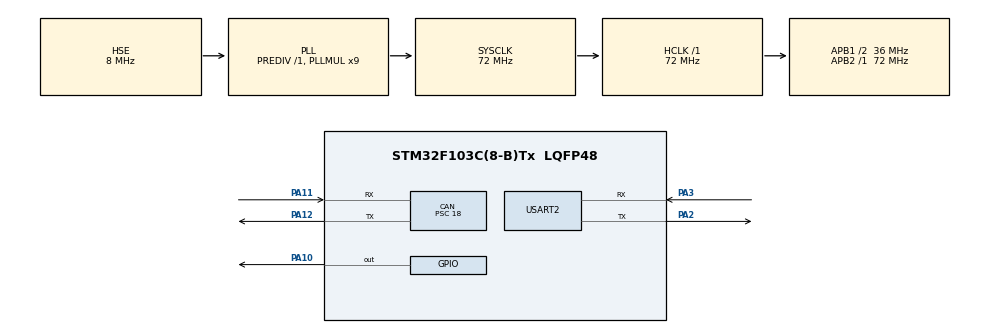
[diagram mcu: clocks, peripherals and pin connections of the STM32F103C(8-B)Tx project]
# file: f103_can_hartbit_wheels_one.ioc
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CAN.BS1=CAN_BS1_2TQ
CAN.CalculateBaudRate=500000
CAN.CalculateTimeBit=2000
CAN.CalculateTimeQuantum=500.0
CAN.Mode=CAN_MODE_NORMAL
CAN.Prescaler=18
Mcu.Family=STM32F1
Mcu.Name=STM32F103C(8-B)Tx
Mcu.Package=LQFP48
NVIC.CAN1_RX1_IRQn=true\:0\:0\:false\:false\:true\:true\:true\:true
NVIC.PriorityGroup=NVIC_PRIORITYGROUP_4
NVIC.TIM2_IRQn=true\:0\:0\:false\:false\:true\:true\:true\:true
NVIC.USB_HP_CAN1_TX_IRQn=true\:0\:0\:false\:false\:true\:true\:true\:true
NVIC.USB_LP_CAN1_RX0_IRQn=true\:0\:0\:false\:false\:true\:true\:true\:true
PA10.PinState=GPIO_PIN_SET
PA10.Signal=GPIO_Output
PA11.Mode=CAN_Activate
PA11.Signal=CAN_RX
PA12.Mode=CAN_Activate
PA12.Signal=CAN_TX
PA13.Mode=Serial_Wire
PA13.Signal=SYS_JTMS-SWDIO
PA14.Mode=Serial_Wire
PA14.Signal=SYS_JTCK-SWCLK
PA2.Mode=Asynchronous
PA2.Signal=USART2_TX
PA3.Mode=Asynchronous
PA3.Signal=USART2_RX
PD0-OSC_IN.Mode=HSE-External-Oscillator
PD0-OSC_IN.Signal=RCC_OSC_IN
PD1-OSC_OUT.Mode=HSE-External-Oscillator
PD1-OSC_OUT.Signal=RCC_OSC_OUT
ProjectManager.HeapSize=0x200
ProjectManager.StackSize=0x400
ProjectManager.TargetToolchain=STM32CubeIDE
RCC.AHBFreq_Value=72000000
RCC.APB1CLKDivider=RCC_HCLK_DIV2
RCC.APB1Freq_Value=36000000
RCC.APB1TimFreq_Value=72000000
RCC.APB2Freq_Value=72000000
RCC.APB2TimFreq_Value=72000000
RCC.HCLKFreq_Value=72000000
RCC.PLLMUL=RCC_PLL_MUL9
RCC.PLLSourceVirtual=RCC_PLLSOURCE_HSE
RCC.SYSCLKFreq_VALUE=72000000
RCC.SYSCLKSource=RCC_SYSCLKSOURCE_PLLCLK
RCC.USBFreq_Value=72000000
TIM2.Period=99
TIM2.Prescaler=7199
USART2.VirtualMode=VM_ASYNC
VP_TIM2_VS_ClockSourceINT.Mode=Internal
board=custom

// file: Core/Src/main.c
/* USER CODE BEGIN Header */
/**
  ******************************************************************************
  * @file           : main.c
  * @brief          : Main program body
  ******************************************************************************
  * @attention
  *
  * <h2><center>&copy; Copyright (c) 2021 STMicroelectronics.
  * All rights reserved.</center></h2>
  *
  * This software component is licensed by ST under BSD 3-Clause license,
  * the "License"; You may not use this file except in compliance with the
  * License. You may obtain a copy of the License at:
  *                        opensource.org/licenses/BSD-3-Clause
  *
  ******************************************************************************
  */
/* USER CODE END Header */
#include "main.h"

/* USER CODE BEGIN Includes */
#include "main.h"
#include "can.h"
#include "CO_NMT.h"
#include "eds_data.h"
#include <stdio.h>
#include "CO_SDO.h"
#include "COB_Dispatcher.h"
#define DEBUG_UART_LOG
#include "CO_PDO.h"
#include "CO_SYNC.h"
#include <string.h>
#include <stdio.h>
#define WHEEL_NODE_1 0x03
#define WHEEL_NODE_2 0x02
/* USER CODE END Includes */

CAN_HandleTypeDef hcan;

TIM_HandleTypeDef htim2;

UART_HandleTypeDef huart2;

/* USER CODE BEGIN PV */
CAN_HandleTypeDef hcan;
extern volatile uint8_t canopen_confirmation_received;
extern void CO_PDO_DebugPrint(uint8_t node_id);

int32_t target_speed = 0;//500000;

volatile uint8_t controlword_stage = 0;
//ControlMode active_mode = MODE_POSITION;
ControlMode active_mode = MODE_SPEED;

/* USER CODE END PV */

void SystemClock_Config(void);
static void MX_GPIO_Init(void);
static void MX_CAN_Init(void);
static void MX_USART2_UART_Init(void);
static void MX_TIM2_Init(void);

int main(void)
{

  /* MCU Configuration--------------------------------------------------------*/

  /* Reset of all peripherals, Initializes the Flash interface and the Systick. */
  HAL_Init();

  /* Configure the system clock */
  SystemClock_Config();

  /* Initialize all configured peripherals */
  MX_GPIO_Init();
  MX_CAN_Init();
  MX_USART2_UART_Init();
  MX_TIM2_Init();
  /* USER CODE BEGIN 2 */

  LogMessage("=== System Init ===");

  // 1. Инициализация CAN
  CAN_Init();
  HAL_Delay(500);

  // Сброс
  CO_NMT_Send(&hcan, NMT_RESET_NODE, WHEEL_NODE_1);
  CO_NMT_Send(&hcan, NMT_RESET_NODE, WHEEL_NODE_2);
  HAL_Delay(300);

  // Старт
  CO_NMT_Send(&hcan, NMT_START, WHEEL_NODE_1);
  CO_NMT_Send(&hcan, NMT_START, WHEEL_NODE_2);
  HAL_Delay(300);

  // Активация
  CAN_SendActivationCommand(&hcan, WHEEL_NODE_1);
  CAN_SendActivationCommand(&hcan, WHEEL_NODE_2);
  HAL_Delay(100);

  // Снятие с тормоза
  CO_NMT_ReleaseBrake(&hcan, WHEEL_NODE_1);
  CO_NMT_ReleaseBrake(&hcan, WHEEL_NODE_2);
  HAL_Delay(100);

  // Инициализация режима скорости через SDO
  CO_SDO_Init_SpeedMode(&hcan, WHEEL_NODE_1);
  CO_SDO_Init_SpeedMode(&hcan, WHEEL_NODE_2);
  HAL_Delay(100);

  // ⚠️ ПЕРЕХОД в Operational только теперь
  CO_NMT_Send(&hcan, NMT_START, WHEEL_NODE_1);
  CO_NMT_Send(&hcan, NMT_START, WHEEL_NODE_2);
  HAL_Delay(100);

  // Настройка RPDO
  CO_PDO_ConfigForSpeedMode(&hcan, WHEEL_NODE_1);
  CO_PDO_ConfigForSpeedMode(&hcan, WHEEL_NODE_2);

  CO_PDO_StartupSequence_SpeedMode(&hcan, WHEEL_NODE_1, 2000);
  CO_PDO_StartupSequence_SpeedMode(&hcan, WHEEL_NODE_2, 2000);

  // Первый запуск
  CO_SYNC_ResetStep();
  CO_SYNC_SetEnabled(1);
  HAL_TIM_Base_Start_IT(&htim2);
  HAL_Delay(8000); // подождать пока мотор закончит ( это 30 сек = 3000 шагов, можно подкорректировать)
  HAL_TIM_Base_Stop_IT(&htim2);
  CO_SYNC_SetEnabled(0);

  HAL_Delay(3000);

  // Второй запуск
  CO_SYNC_ResetStep();
  CO_SYNC_SetEnabled(1);
  HAL_TIM_Base_Start_IT(&htim2);
  HAL_Delay(5000);
  HAL_TIM_Base_Stop_IT(&htim2);
  CO_SYNC_SetEnabled(0);

  /* USER CODE END 2 */

  /* Infinite loop */
  /* USER CODE BEGIN WHILE */
  while (1)
  {

	  COB_ProcessStateMachine();  // Всё управление через FSM
	  HAL_Delay(10);

	  /*
	      if (CO_PDO_IsReceived(WHEEL_NODE_ID)) {
	          LogMessage("✅ PDO received");
	          CO_PDO_DebugPrint(WHEEL_NODE_ID);
	          HAL_Delay(500);
	      }
	      // Отладочное чтение параметров
	      uint32_t val = 0;

	      if (CO_SDO_Read(&hcan, WHEEL_NODE_ID, 0x6061, 0x00, &val) == HAL_OK) {
	          char dbg[64];
	          sprintf(dbg, "Mode Display (0x6061) = 0x%02lX", val);
	          LogMessage(dbg);
	      }

	      if (CO_SDO_Read(&hcan, WHEEL_NODE_ID, 0x6041, 0x00, &val) == HAL_OK) {
	          char dbg[64];
	          sprintf(dbg, "Statusword (0x6041) = 0x%04lX", val);
	          LogMessage(dbg);
	      }

	      if (CO_SDO_Read(&hcan, WHEEL_NODE_ID, 0x606C, 0x00, &val) == HAL_OK) {
	          char dbg[64];
	          sprintf(dbg, "Actual Speed (0x606C) = %ld", (int32_t)val);
	          LogMessage(dbg);
	      }
	   */

  }
  /* USER CODE END WHILE */

  }

void SystemClock_Config(void)
{
  RCC_OscInitTypeDef RCC_OscInitStruct = {0};
  RCC_ClkInitTypeDef RCC_ClkInitStruct = {0};

  /** Initializes the RCC Oscillators according to the specified parameters
  * in the RCC_OscInitTypeDef structure.
  */
  RCC_OscInitStruct.OscillatorType = RCC_OSCILLATORTYPE_HSE;
  RCC_OscInitStruct.HSEState = RCC_HSE_ON;
  RCC_OscInitStruct.HSEPredivValue = RCC_HSE_PREDIV_DIV1;
  RCC_OscInitStruct.HSIState = RCC_HSI_ON;
  RCC_OscInitStruct.PLL.PLLState = RCC_PLL_ON;
  RCC_OscInitStruct.PLL.PLLSource = RCC_PLLSOURCE_HSE;
  RCC_OscInitStruct.PLL.PLLMUL = RCC_PLL_MUL9;
  if (HAL_RCC_OscConfig(&RCC_OscInitStruct) != HAL_OK)
  {
    Error_Handler();
  }

  /** Initializes the CPU, AHB and APB buses clocks
  */
  RCC_ClkInitStruct.ClockType = RCC_CLOCKTYPE_HCLK|RCC_CLOCKTYPE_SYSCLK
                              |RCC_CLOCKTYPE_PCLK1|RCC_CLOCKTYPE_PCLK2;
  RCC_ClkInitStruct.SYSCLKSource = RCC_SYSCLKSOURCE_PLLCLK;
  RCC_ClkInitStruct.AHBCLKDivider = RCC_SYSCLK_DIV1;
  RCC_ClkInitStruct.APB1CLKDivider = RCC_HCLK_DIV2;
  RCC_ClkInitStruct.APB2CLKDivider = RCC_HCLK_DIV1;

  if (HAL_RCC_ClockConfig(&RCC_ClkInitStruct, FLASH_LATENCY_2) != HAL_OK)
  {
    Error_Handler();
  }
}

static void MX_CAN_Init(void)
{

  hcan.Instance = CAN1;
  hcan.Init.Prescaler = 18;
  hcan.Init.Mode = CAN_MODE_NORMAL;
  hcan.Init.SyncJumpWidth = CAN_SJW_1TQ;
  hcan.Init.TimeSeg1 = CAN_BS1_2TQ;
  hcan.Init.TimeSeg2 = CAN_BS2_1TQ;
  hcan.Init.TimeTriggeredMode = DISABLE;
  hcan.Init.AutoBusOff = DISABLE;
  hcan.Init.AutoWakeUp = DISABLE;
  hcan.Init.AutoRetransmission = DISABLE;
  hcan.Init.ReceiveFifoLocked = DISABLE;
  hcan.Init.TransmitFifoPriority = DISABLE;
  if (HAL_CAN_Init(&hcan) != HAL_OK)
  {
    Error_Handler();
  }

}

static void MX_TIM2_Init(void)
{

  TIM_ClockConfigTypeDef sClockSourceConfig = {0};
  TIM_MasterConfigTypeDef sMasterConfig = {0};

  htim2.Instance = TIM2;
  htim2.Init.Prescaler = 7199;
  htim2.Init.CounterMode = TIM_COUNTERMODE_UP;
  htim2.Init.Period = 999;
  htim2.Init.ClockDivision = TIM_CLOCKDIVISION_DIV1;
  htim2.Init.AutoReloadPreload = TIM_AUTORELOAD_PRELOAD_DISABLE;
  if (HAL_TIM_Base_Init(&htim2) != HAL_OK)
  {
    Error_Handler();
  }
  sClockSourceConfig.ClockSource = TIM_CLOCKSOURCE_INTERNAL;
  if (HAL_TIM_ConfigClockSource(&htim2, &sClockSourceConfig) != HAL_OK)
  {
    Error_Handler();
  }
  sMasterConfig.MasterOutputTrigger = TIM_TRGO_RESET;
  sMasterConfig.MasterSlaveMode = TIM_MASTERSLAVEMODE_DISABLE;
  if (HAL_TIMEx_MasterConfigSynchronization(&htim2, &sMasterConfig) != HAL_OK)
  {
    Error_Handler();
  }

}

static void MX_USART2_UART_Init(void)
{

  huart2.Instance = USART2;
  huart2.Init.BaudRate = 115200;
  huart2.Init.WordLength = UART_WORDLENGTH_8B;
  huart2.Init.StopBits = UART_STOPBITS_1;
  huart2.Init.Parity = UART_PARITY_NONE;
  huart2.Init.Mode = UART_MODE_TX_RX;
  huart2.Init.HwFlowCtl = UART_HWCONTROL_NONE;
  huart2.Init.OverSampling = UART_OVERSAMPLING_16;
  if (HAL_UART_Init(&huart2) != HAL_OK)
  {
    Error_Handler();
  }

}

static void MX_GPIO_Init(void)
{
  GPIO_InitTypeDef GPIO_InitStruct = {0};

  /* GPIO Ports Clock Enable */
  __HAL_RCC_GPIOD_CLK_ENABLE();
  __HAL_RCC_GPIOA_CLK_ENABLE();

  /*Configure GPIO pin Output Level */
  HAL_GPIO_WritePin(GPIOA, GPIO_PIN_10, GPIO_PIN_SET);

  /*Configure GPIO pin : PA10 */
  GPIO_InitStruct.Pin = GPIO_PIN_10;
  GPIO_InitStruct.Mode = GPIO_MODE_OUTPUT_PP;
  GPIO_InitStruct.Pull = GPIO_NOPULL;
  GPIO_InitStruct.Speed = GPIO_SPEED_FREQ_LOW;
  HAL_GPIO_Init(GPIOA, &GPIO_InitStruct);

}

/* USER CODE BEGIN 4 */

 // скорость в ticks/sec

void HAL_TIM_PeriodElapsedCallback(TIM_HandleTypeDef *htim)
{
    if (htim->Instance == TIM2 && CO_SYNC_IsEnabled()) {
        int32_t target_speed = (sync_step_counter < 80) ? 9000 : 0;

        CO_SYNC_SendRPDOAndSYNC(&hcan, WHEEL_NODE_1, 0x000F, target_speed);
        CO_SYNC_SendRPDOAndSYNC(&hcan, WHEEL_NODE_2, 0x000F, target_speed);

        if (sync_step_counter == 80) {
            CO_SYNC_SetEnabled(0);
            HAL_TIM_Base_Stop_IT(htim);
            LogMessage("STEP: Stop motion");
        }

        sync_step_counter++;
    }
}

/*
void HAL_TIM_PeriodElapsedCallback(TIM_HandleTypeDef *htim) {
    if (htim->Instance == TIM2 && CO_SYNC_IsEnabled()) {
        static uint32_t last_change = 0;
        uint32_t now = HAL_GetTick();

        if (now - last_change >= 500) { // интервал
            last_change = now;

            LogMessage("STEP: Sending target speed via RPDO...");
            CO_SYNC_SendRPDOAndSYNC(&hcan, WHEEL_NODE_ID, 0x000F, target_speed);
        }
    }
}
*/

/*
uint8_t sync_counter = 0;

void HAL_TIM_PeriodElapsedCallback(TIM_HandleTypeDef *htim) {
    if (htim->Instance == TIM2 && CO_SYNC_IsEnabled()) {
        int32_t pos = (sync_counter++ % 2 == 0) ? 32768 * 10 : -32768 * 10;

        // Отправка RPDO + SYNC
        CO_SYNC_SendRPDOAndSYNC(&hcan, 0x03, 0x000F, pos);
    }
}
*/

/* USER CODE END 4 */

void Error_Handler(void)
{
  __disable_irq();
  while (1)
  {
  }
}
